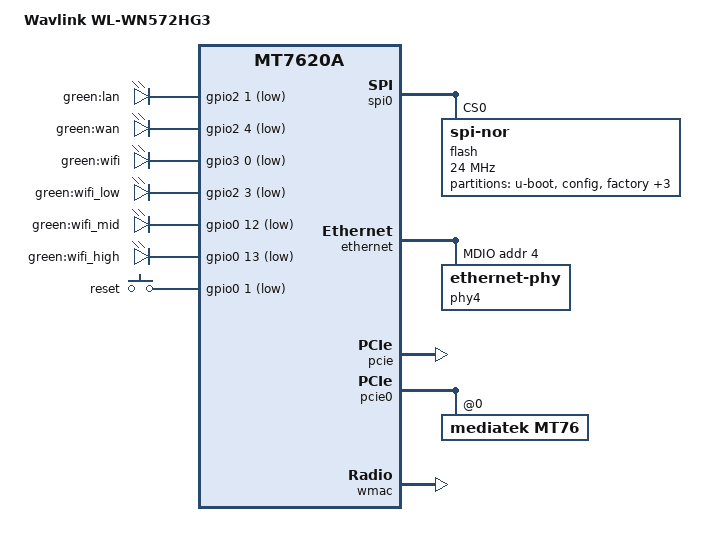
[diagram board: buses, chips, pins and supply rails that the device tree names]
// SPDX-License-Identifier: GPL-2.0-or-later

#include "mt7620a.dtsi"

#include <dt-bindings/gpio/gpio.h>
#include <dt-bindings/input/input.h>

/ {
	compatible = "wavlink,wl-wn572hg3", "ralink,mt7620a-soc";
	model = "Wavlink WL-WN572HG3";

        aliases {
            led-boot = &led_wifi_high;
            led-failsafe = &led_wifi_high;
            led-upgrade = &led_wifi_high;
        };

        leds {
            compatible = "gpio-leds";

			lan {
				label = "green:lan";
				gpios = <&gpio2 1 GPIO_ACTIVE_LOW>;
			};

			wan {
				label = "green:wan";
				gpios = <&gpio2 4 GPIO_ACTIVE_LOW>;
			};

			wifi {
				label = "green:wifi";
				gpios = <&gpio3 0 GPIO_ACTIVE_LOW>;
			};

			wifi_low {
				label = "green:wifi_low";
				gpios = <&gpio2 3 GPIO_ACTIVE_LOW>;
			};

			wifi_mid {
				label = "green:wifi_mid";
				gpios = <&gpio0 12 GPIO_ACTIVE_LOW>;
			};

			led_wifi_high:wifi_high {
				label = "green:wifi_high";
				gpios = <&gpio0 13 GPIO_ACTIVE_LOW>;
			};
		};

		keys {
			compatible = "gpio-keys";

			reset {
				label = "reset";
				gpios = <&gpio0 1 GPIO_ACTIVE_LOW>;
				linux,code = <KEY_RESTART>;
			};
		};
};

&gpio2 {
	status = "okay";
};

&gpio3 {
	status = "okay";
};

&spi0 {
	status = "okay";

	flash@0 {
		compatible = "jedec,spi-nor";
		reg = <0>;
		spi-max-frequency = <24000000>;

		partitions {
			compatible = "fixed-partitions";
			#address-cells = <1>;
			#size-cells = <1>;

			partition@0 {
				label = "u-boot";
				reg = <0x0 0x30000>;
				read-only;
			};

			partition@30000 {
				label = "config";
				reg = <0x30000 0x10000>;
				read-only;
			};

			factory: partition@40000 {
				label = "factory";
				reg = <0x40000 0x10000>;
				read-only;

				nvmem-layout {
					compatible = "fixed-layout";
					#address-cells = <1>;
					#size-cells = <1>;

					eeprom_factory_0: eeprom@0 {
						reg = <0x0 0x200>;
					};

					eeprom_factory_8000: eeprom@8000 {
						reg = <0x8000 0x200>;
					};

					macaddr_factory_28: macaddr@28 {
						reg = <0x28 0x6>;
					};
				};
			};

			partition@50000 {
				compatible = "denx,uimage";
				label = "firmware";
				reg = <0x50000 0x790000>;
			};

			partition@7e0000 {
					label = "board_data";
					reg = <0x7e0000 0x10000>;
					read-only;
			};

			partition@7f0000 {
					label = "nvram";
					reg = <0x7f0000 0x10000>;
					read-only;
			};
		};
	};
};

&state_default {
	gpio {
		groups = "i2c", "uartf", "ephy", "wled";
		function = "gpio";
	};
};

&ethernet {
	pinctrl-names = "default";
	pinctrl-0 = <&rgmii1_pins &rgmii2_pins &mdio_pins>;

	nvmem-cells = <&macaddr_factory_28>;
	nvmem-cell-names = "mac-address";

	mediatek,portmap = "llllw";

	port@4 {
		status = "okay";
		phy-handle = <&phy4>;
		phy-mode = "rgmii";
		mediatek,fixed-link = <1000 1 1 1>;
	};


	mdio-bus {
		status = "okay";
		
		phy4: ethernet-phy@4 {
			reg = <4>;
			phy-mode = "rgmii";
		};

	};
};

&gsw {
	mediatek,port4-gmac;
	mediatek,ephy-base = /bits/ 8 <8>;
};

&pcie {
	status = "okay";
};

&pcie0 {
	mt76@0,0 {
		compatible = "mediatek,mt76";
		reg = <0x0000 0 0 0 0>;
		ieee80211-freq-limit = <5000000 6000000>;

		nvmem-cells = <&eeprom_factory_8000>;
		nvmem-cell-names = "eeprom";
	};
};

&wmac {
	pinctrl-names = "default";
	pinctrl-0 = <&pa_pins>;

	nvmem-cells = <&eeprom_factory_0>;
	nvmem-cell-names = "eeprom";
};
